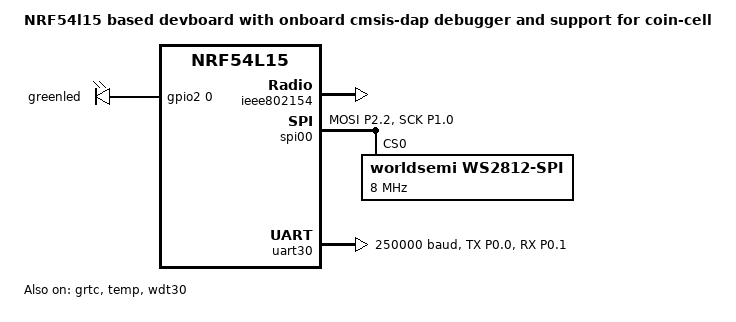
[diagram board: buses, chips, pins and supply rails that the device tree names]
/dts-v1/;
#include <nordic/nrf54l15_cpuapp.dtsi>
#include "Sleepy_Dev_Board-pinctrl.dtsi"
#include "zephyr/dt-bindings/led/led.h"
#include <zephyr/dt-bindings/gpio/gpio.h>
#include <nordic/nrf54l15_partition.dtsi>


/ {
	model = "NRF54l15 based devboard with onboard cmsis-dap debugger and support for coin-cell";
	compatible = "Thesynthscope,Sleepy-Dev-Board-cpuapp";

	chosen {
		zephyr,code-partition = &slot0_partition;
		zephyr,sram = &cpuapp_sram;
		zephyr,flash = &cpuapp_rram;
		zephyr,flash-controller = &rram_controller;
		zephyr,console = &uart30;
		logging,console = &uart30;
		zephyr,shell-uart = &uart30;
		zephyr,uart-mcumgr = &uart30;
	};

	leds {
		compatible = "gpio-leds";
		status = "okay";
		greenled: green_led {
			gpios = <&gpio2 0 0>;

		};
	};

	aliases {
		led0 = &greenled;
		led-strip = &{/soc/peripheral@50000000/spi@4a000/ws2812-spi@0/};
	};

};

&grtc {
	owned-channels = <0 1 2 3 4 5 6 7 8 9 10 11>;
	/* Channels 7-11 reserved for Zero Latency IRQs, 3-4 for FLPR */
	child-owned-channels = <3 4 7 8 9 10 11>;
	status = "okay";
};

&cpuapp_sram {
	status = "okay";
};

&lfxo {
	load-capacitors = "internal";
	load-capacitance-femtofarad = <17000>;
};

&hfxo {
	load-capacitors = "internal";
	load-capacitance-femtofarad = <15000>;
};

&radio {
	status = "disabled";
	dfe-antenna-num = <2>;
	dfegpio0-gpios = <&gpio1 10 0>;
};

&ieee802154 {
	status = "okay";
};

&temp {
	status = "okay";
};

&clock {
	status = "okay";
};

&gpio0 {
	status = "okay";
};


&pinctrl {

	spi00_default: spi00_default {

		group2 {
			psels = <NRF_PSEL(SPIM_MOSI, 2, 2)>,
					<NRF_PSEL(SPIM_SCK, 1, 0)>;

		};
	};

	spi00_sleep: spi00_sleep {
		group1 {
			psels = <NRF_PSEL(SPIM_MOSI, 2, 2)>,
					<NRF_PSEL(SPIM_SCK, 1, 0)>;
		};
	};

	uart30_default: uart30_default {

		group1 {
			psels = <NRF_PSEL(UART_TX, 0, 0)>, <NRF_PSEL(UART_RX, 0, 1)>;
			nordic,drive-mode = <NRF_DRIVE_H0H1>;
		};
	};

	uart30_sleep: uart30_sleep {
		group1 {
			psels = <NRF_PSEL(UART_TX, 0, 0)>;
		};
	};
};

&gpio2 {
	status = "okay";
};

&gpiote20 {
	status = "okay";
};

&gpiote30 {
	status = "okay";
};

&wdt30 {
	status = "okay";
};

&spi00 {
	status = "okay";
	pinctrl-0 = <&spi00_default>;
	pinctrl-1 = <&spi00_sleep>;
	pinctrl-names = "default", "sleep";
	ws2812-spi@0 {
		compatible = "worldsemi,ws2812-spi";
		reg = <0x0>;
		spi-max-frequency = <DT_FREQ_M(8)>;
		chain-length = <1>;
		color-mapping = <
		LED_COLOR_ID_GREEN
		LED_COLOR_ID_RED
		LED_COLOR_ID_BLUE
		>;
		spi-one-frame = <0xFC>;  
		spi-zero-frame = <0xE0>;
	};

	compatible = "nordic,nrf-spim";
	
};

&gpio1 {
	status = "okay";
};

&uart30 {
	status = "okay";
	current-speed = <250000>;
	pinctrl-0 = <&uart30_default>;
	pinctrl-1 = <&uart30_sleep>;
	pinctrl-names = "default", "sleep";
};

&pclk {
	clock-frequency = <DT_FREQ_M(16)>;
};

&hfpll {
	clock-frequency = <DT_FREQ_M(128)>;
};
